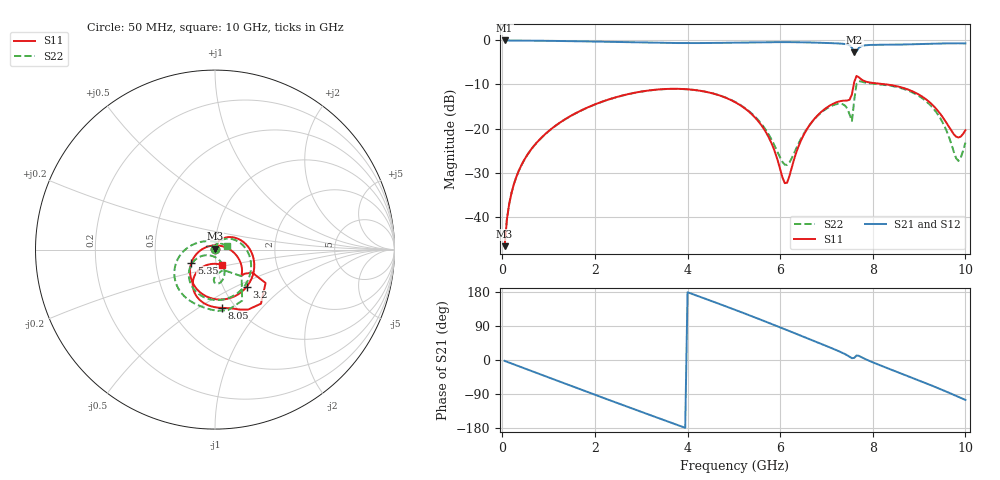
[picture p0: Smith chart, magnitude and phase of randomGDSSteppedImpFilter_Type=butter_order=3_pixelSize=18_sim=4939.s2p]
! freq	dB(S11)	phase(S11)	dB(S12)	phase(S12)
!  dB(S21)	phase(S21)	dB(S22)	phase(S22)
!S-par simulation data
#  GHz  S  DB  R 50
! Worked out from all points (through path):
!   200 points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, 50 MHz to 10 GHz, reference 50 ohm
!   highest |S21| = -0.01 dB at 50 MHz (marker M1); lowest = -2.7 dB at 7.6 GHz (marker M2)
!   group delay of S21, straight-line fit = 128 ps
!   lowest |S11| = -46.7 dB at 50 MHz (marker M3), VSWR 1.01, Z = 50.1 + j0.458 ohm
!   |S11| at or under -10 dB: start of sweep to 7.59 GHz; 8.305 GHz to end of sweep
!   |S22| runs from -46.7 to -9.2 dB; largest |S21 - S12| = 0
!   S11 on the Smith chart (normalised r, x): 50 MHz: 1.00, +0.01; 3.2 GHz: 1.28, -0.57; 5.35 GHz: 0.76, -0.12; 8.05 GHz: 0.86, -0.63; 10 GHz: 1.07, -0.19
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0.05  -46.70 81.7  -0.01 -2.3  -0.01 -2.3  -46.68 81.2
0.2  -34.57 79.3  -0.02 -9.3  -0.02 -9.3  -34.56 78.0
0.5  -26.65 67.7  -0.04 -23.1  -0.04 -23.1  -26.66 64.5
1.75  -15.66 14.5  -0.21 -80.3  -0.21 -80.3  -15.68 5.3
2.45  -12.91 -16.2  -0.36 -112.0  -0.36 -112.0  -12.93 -27.1
3.2  -11.31 -49.6  -0.52 -145.6  -0.52 -145.6  -11.33 -60.6
3.4  -11.10 -58.5  -0.55 -154.5  -0.55 -154.5  -11.12 -69.3
4.2  -11.31 -94.3  -0.60 169.9  -0.60 169.9  -11.32 -103.4
5.05  -14.15 -134.6  -0.50 131.3  -0.50 131.3  -14.09 -137.6
5.35  -16.40 -150.5  -0.45 117.3  -0.45 117.3  -16.25 -148.0
5.75  -21.94 -177.5  -0.39 98.2  -0.39 98.2  -21.32 -154.5
6.1  -32.40 103.3  -0.38 81.2  -0.38 81.2  -28.20 -116.3
6.7  -18.32 -14.4  -0.48 51.7  -0.48 51.7  -18.34 -64.8
7.3  -13.78 -43.7  -0.71 21.4  -0.71 21.4  -14.38 -86.8
7.55  -12.24 -31.7  -1.66 4.8  -1.66 4.8  -18.27 -68.1
7.6  -9.42 -33.5  -2.67 5.7  -2.67 5.7  -13.56 -45.0
7.7  -8.37 -61.1  -1.68 11.0  -1.68 11.0  -9.24 -77.9
8.05  -9.71 -83.5  -1.00 -8.7  -1.00 -8.7  -9.86 -110.6
8.35  -10.07 -96.1  -0.97 -23.1  -0.97 -23.1  -10.23 -126.0
9.25  -14.24 -127.3  -0.76 -66.2  -0.76 -66.2  -14.78 -175.1
9.85  -22.04 -90.7  -0.66 -97.3  -0.66 -97.3  -27.36 76.4
10  -20.38 -64.3  -0.69 -105.4  -0.69 -105.4  -23.21 17.1
